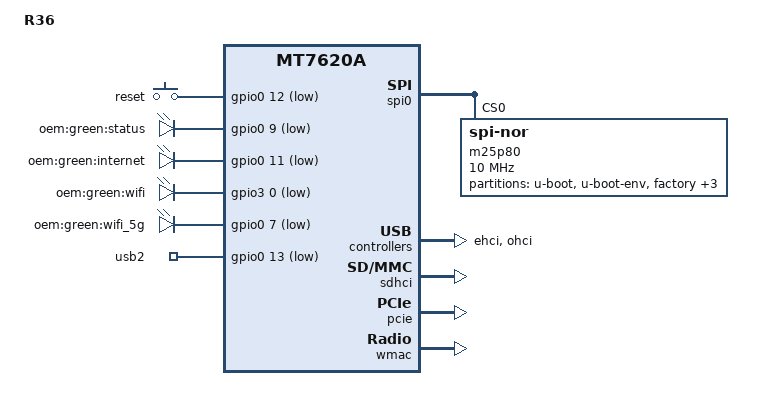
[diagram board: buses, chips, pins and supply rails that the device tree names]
/dts-v1/;

#include "mt7620a.dtsi"

#include <dt-bindings/input/input.h>

/ {
	compatible = "OEM,MT7620", "ralink,mt7620a-soc";
	model = "R36";

	chosen {
		bootargs = "console=ttyS0,115200";
	};

	gpio-keys-polled {
		compatible = "gpio-keys-polled";
		#address-cells = <1>;
		#size-cells = <0>;
		poll-interval = <20>;

		reset {
			label = "reset";
			gpios = <&gpio0 12 1>;
			linux,code = <KEY_RESTART>;
		};
	};

	gpio-leds {
		compatible = "gpio-leds";
		status {
			label = "oem:green:status";
			gpios = <&gpio0 9 1>;
		};

		internet {
			label = "oem:green:internet";
			gpios = <&gpio0 11 1>;
		};
		
		wifi {
			label = "oem:green:wifi";
			gpios = <&gpio3 0 1>;
		};

		wifi_5g {
			label = "oem:green:wifi_5g";
			gpios = <&gpio0 7 1>;
		};
	};

	gpio-export {
		compatible = "gpio-export";
		usb2 {
			gpio-export,name = "usb2";
			gpio-export,output = <1>; // OUT_INIT_LOW
			gpios = <&gpio0 13 1>;    // GPIO 11, ACTIVE_LOW
		};
	};
};

&gpio0 {
	status = "okay";
};

&gpio2 {
	status = "okay";
};

&gpio3 {
	status = "okay";
};

&spi0 {
	status = "okay";

	m25p80@0 {
		#address-cells = <1>;
		#size-cells = <1>;
		compatible = "jedec,spi-nor";
		reg = <0>;
		spi-max-frequency = <10000000>;

		partition@0 {
			label = "u-boot";
			reg = <0x0 0x30000>;
		};

		partition@30000 {
			label = "u-boot-env";
			reg = <0x30000 0x10000>;
		};

		factory: partition@40000 {
			label = "factory";
			reg = <0x40000 0x10000>;
		};

		backup: partition@fe0000 {
			label = "backup";
			reg = <0x7e0000 0x10000>;
		};

		bdinfo: partition@ff0000 {
			label = "bdinfo";
			reg = <0x7f0000 0x10000>;
		};

		partition@50000 {
			label = "firmware";
			reg = <0x50000 0x790000>;
		};
	};
};

&ehci {
	status = "okay";
};

&ohci {
	status = "okay";
};

&sdhci {
	status = "okay";
};

&pcie {
	status = "okay";
};
	
&wmac {
	ralink,mtd-eeprom = <&factory 0>;
};

&pinctrl {
	state_default: pinctrl0 {
		default {
			ralink,group = "ephy", "wled", "pa", "i2c", "wdt", "uartf", "rgmii1","spi refclk";
			ralink,function = "gpio";
		};
	};
};

&gsw {
	mediatek,port4 = "ephy";
};

&ethernet {
	pinctrl-names = "default";
	pinctrl-0 = <&ephy_pins>;
	mtd-mac-address = <&bdinfo 0xDE00>;
	mediatek,portmap = "wllll";
};
